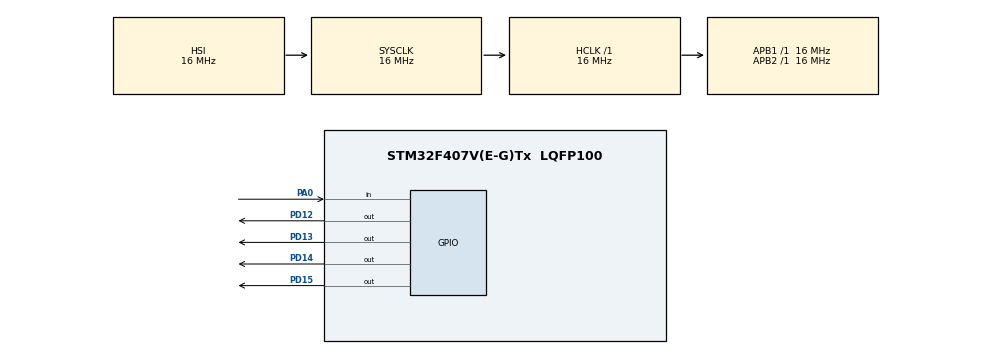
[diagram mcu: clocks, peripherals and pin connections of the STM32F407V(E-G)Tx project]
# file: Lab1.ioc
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Mcu.Family=STM32F4
Mcu.Name=STM32F407V(E-G)Tx
Mcu.Package=LQFP100
NVIC.PriorityGroup=NVIC_PRIORITYGROUP_4
PA0-WKUP.Signal=GPIO_Input
PD12.Signal=GPIO_Output
PD13.Signal=GPIO_Output
PD14.Signal=GPIO_Output
PD15.Signal=GPIO_Output
ProjectManager.HeapSize=0x200
ProjectManager.StackSize=0x400
ProjectManager.TargetToolchain=STM32CubeIDE
RCC.AHBFreq_Value=16000000
RCC.APB1Freq_Value=16000000
RCC.APB2Freq_Value=16000000
RCC.CortexFreq_Value=16000000
RCC.HSE_VALUE=25000000
RCC.HSI_VALUE=16000000
RCC.LSE_VALUE=32768
RCC.SYSCLKFreq_VALUE=16000000
RCC.VCOOutputFreq_Value=192000000
board=custom

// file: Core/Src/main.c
/* USER CODE BEGIN Header */
/**
  ******************************************************************************
  * @file           : main.c
  * @brief          : Main program body
  ******************************************************************************
  * @attention
  *
  * Copyright (c) 2024 STMicroelectronics.
  * All rights reserved.
  *
  * This software is licensed under terms that can be found in the LICENSE file
  * in the root directory of this software component.
  * If no LICENSE file comes with this software, it is provided AS-IS.
  *
  ******************************************************************************
  */
/* USER CODE END Header */
#include "main.h"

void SystemClock_Config(void);
static void MX_GPIO_Init(void);

int main(void)
{

  /* MCU Configuration--------------------------------------------------------*/

  /* Reset of all peripherals, Initializes the Flash interface and the Systick. */
  HAL_Init();

  /* Configure the system clock */
  SystemClock_Config();

  /* Initialize all configured peripherals */
  MX_GPIO_Init();

  /* Infinite loop */
  /* USER CODE BEGIN WHILE */
  while (1)
  {
	HAL_GPIO_WritePin(GPIOD, GPIO_PIN_15, GPIO_PIN_SET);
	HAL_Delay(500);
	HAL_GPIO_WritePin(GPIOD, GPIO_PIN_15, GPIO_PIN_RESET);
	HAL_Delay(500);

	HAL_GPIO_WritePin(GPIOD, GPIO_PIN_14, GPIO_PIN_SET);
	HAL_Delay(550);
	HAL_GPIO_WritePin(GPIOD, GPIO_PIN_14, GPIO_PIN_RESET);
	HAL_Delay(550);

	HAL_GPIO_WritePin(GPIOD, GPIO_PIN_13, GPIO_PIN_SET);
	HAL_Delay(600);
	HAL_GPIO_WritePin(GPIOD, GPIO_PIN_13, GPIO_PIN_RESET);
	HAL_Delay(600);

	HAL_GPIO_WritePin(GPIOD, GPIO_PIN_12, GPIO_PIN_SET);
	HAL_Delay(650);
	HAL_GPIO_WritePin(GPIOD, GPIO_PIN_12, GPIO_PIN_RESET);
	HAL_Delay(650);
    /* USER CODE END WHILE */

  }
}

void SystemClock_Config(void)
{
  RCC_OscInitTypeDef RCC_OscInitStruct = {0};
  RCC_ClkInitTypeDef RCC_ClkInitStruct = {0};

  /** Configure the main internal regulator output voltage
  */
  __HAL_RCC_PWR_CLK_ENABLE();
  __HAL_PWR_VOLTAGESCALING_CONFIG(PWR_REGULATOR_VOLTAGE_SCALE1);

  /** Initializes the RCC Oscillators according to the specified parameters
  * in the RCC_OscInitTypeDef structure.
  */
  RCC_OscInitStruct.OscillatorType = RCC_OSCILLATORTYPE_HSI;
  RCC_OscInitStruct.HSIState = RCC_HSI_ON;
  RCC_OscInitStruct.HSICalibrationValue = RCC_HSICALIBRATION_DEFAULT;
  RCC_OscInitStruct.PLL.PLLState = RCC_PLL_NONE;
  if (HAL_RCC_OscConfig(&RCC_OscInitStruct) != HAL_OK)
  {
    Error_Handler();
  }

  /** Initializes the CPU, AHB and APB buses clocks
  */
  RCC_ClkInitStruct.ClockType = RCC_CLOCKTYPE_HCLK|RCC_CLOCKTYPE_SYSCLK
                              |RCC_CLOCKTYPE_PCLK1|RCC_CLOCKTYPE_PCLK2;
  RCC_ClkInitStruct.SYSCLKSource = RCC_SYSCLKSOURCE_HSI;
  RCC_ClkInitStruct.AHBCLKDivider = RCC_SYSCLK_DIV1;
  RCC_ClkInitStruct.APB1CLKDivider = RCC_HCLK_DIV1;
  RCC_ClkInitStruct.APB2CLKDivider = RCC_HCLK_DIV1;

  if (HAL_RCC_ClockConfig(&RCC_ClkInitStruct, FLASH_LATENCY_0) != HAL_OK)
  {
    Error_Handler();
  }
}

static void MX_GPIO_Init(void)
{
  GPIO_InitTypeDef GPIO_InitStruct = {0};

  /* GPIO Ports Clock Enable */
  __HAL_RCC_GPIOA_CLK_ENABLE();
  __HAL_RCC_GPIOD_CLK_ENABLE();

  /*Configure GPIO pin Output Level */
  HAL_GPIO_WritePin(GPIOD, GPIO_PIN_12|GPIO_PIN_13|GPIO_PIN_14|GPIO_PIN_15, GPIO_PIN_RESET);

  /*Configure GPIO pin : PA0 */
  GPIO_InitStruct.Pin = GPIO_PIN_0;
  GPIO_InitStruct.Mode = GPIO_MODE_INPUT;
  GPIO_InitStruct.Pull = GPIO_NOPULL;
  HAL_GPIO_Init(GPIOA, &GPIO_InitStruct);

  /*Configure GPIO pins : PD12 PD13 PD14 PD15 */
  GPIO_InitStruct.Pin = GPIO_PIN_12|GPIO_PIN_13|GPIO_PIN_14|GPIO_PIN_15;
  GPIO_InitStruct.Mode = GPIO_MODE_OUTPUT_PP;
  GPIO_InitStruct.Pull = GPIO_NOPULL;
  GPIO_InitStruct.Speed = GPIO_SPEED_FREQ_LOW;
  HAL_GPIO_Init(GPIOD, &GPIO_InitStruct);

}

void Error_Handler(void)
{
  __disable_irq();
  while (1)
  {
  }
}
